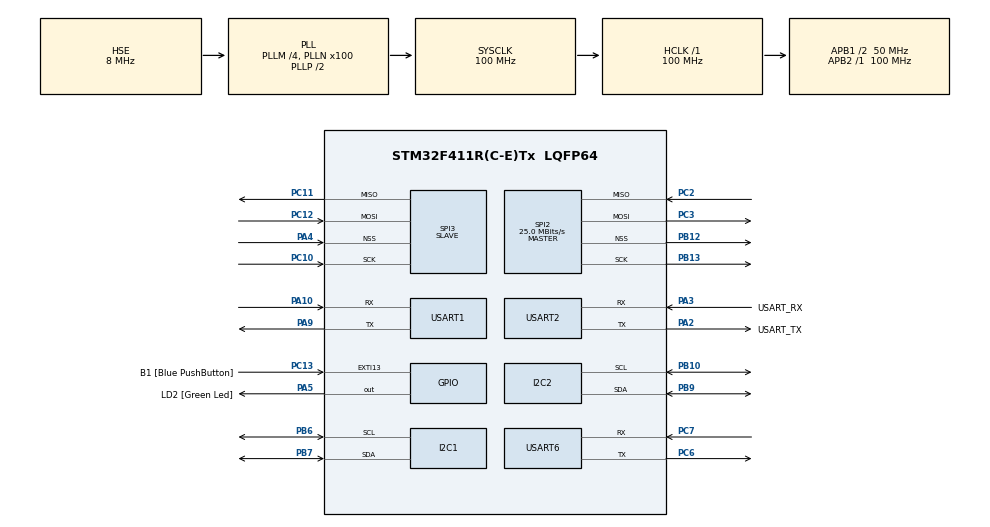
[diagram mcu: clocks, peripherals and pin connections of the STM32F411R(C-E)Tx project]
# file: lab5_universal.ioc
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I2C2.I2C_Mode=I2C_Standard
I2C2.OwnAddress=0x76
Mcu.Family=STM32F4
Mcu.Name=STM32F411R(C-E)Tx
Mcu.Package=LQFP64
NVIC.EXTI15_10_IRQn=true\:1\:0\:true\:false\:true\:true\:true\:true
NVIC.I2C1_ER_IRQn=true\:3\:0\:true\:false\:true\:true\:true\:true
NVIC.I2C1_EV_IRQn=true\:2\:0\:true\:false\:true\:true\:true\:true
NVIC.I2C2_ER_IRQn=true\:3\:0\:true\:false\:true\:true\:true\:true
NVIC.I2C2_EV_IRQn=true\:2\:0\:true\:false\:true\:true\:true\:true
NVIC.PriorityGroup=NVIC_PRIORITYGROUP_2
NVIC.SPI2_IRQn=true\:2\:0\:true\:false\:true\:true\:true\:true
NVIC.SPI3_IRQn=true\:2\:0\:true\:false\:true\:true\:true\:true
NVIC.USART1_IRQn=true\:1\:0\:true\:false\:true\:true\:true\:true
NVIC.USART6_IRQn=true\:2\:0\:true\:false\:true\:true\:true\:true
PA10.Mode=Asynchronous
PA10.Signal=USART1_RX
PA13.GPIO_Label=TMS
PA13.Mode=Serial_Wire
PA13.Signal=SYS_JTMS-SWDIO
PA14.GPIO_Label=TCK
PA14.Mode=Serial_Wire
PA14.Signal=SYS_JTCK-SWCLK
PA2.GPIO_Label=USART_TX
PA2.Mode=Asynchronous
PA2.Signal=USART2_TX
PA3.GPIO_Label=USART_RX
PA3.Mode=Asynchronous
PA3.Signal=USART2_RX
PA4.Mode=NSS_Signal_Hard_Input
PA4.Signal=SPI3_NSS
PA5.GPIO_Label=LD2 [Green Led]
PA5.Signal=GPIO_Output
PA9.Mode=Asynchronous
PA9.Signal=USART1_TX
PB10.Mode=I2C
PB10.Signal=I2C2_SCL
PB12.Mode=NSS_Signal_Hard_Output
PB12.Signal=SPI2_NSS
PB13.Mode=Full_Duplex_Master
PB13.Signal=SPI2_SCK
PB3.GPIO_Label=SWO
PB3.Signal=SYS_JTDO-SWO
PB6.Mode=I2C
PB6.Signal=I2C1_SCL
PB7.Mode=I2C
PB7.Signal=I2C1_SDA
PB9.Mode=I2C
PB9.Signal=I2C2_SDA
PC10.Mode=Full_Duplex_Slave
PC10.Signal=SPI3_SCK
PC11.Mode=Full_Duplex_Slave
PC11.Signal=SPI3_MISO
PC12.Mode=Full_Duplex_Slave
PC12.Signal=SPI3_MOSI
PC13-ANTI_TAMP.GPIO_Label=B1 [Blue PushButton]
PC13-ANTI_TAMP.GPIO_ModeDefaultEXTI=GPIO_MODE_IT_FALLING
PC13-ANTI_TAMP.Signal=GPXTI13
PC14-OSC32_IN.Mode=LSE-External-Oscillator
PC14-OSC32_IN.Signal=RCC_OSC32_IN
PC15-OSC32_OUT.Mode=LSE-External-Oscillator
PC15-OSC32_OUT.Signal=RCC_OSC32_OUT
PC2.Mode=Full_Duplex_Master
PC2.Signal=SPI2_MISO
PC3.Mode=Full_Duplex_Master
PC3.Signal=SPI2_MOSI
PC6.Mode=Asynchronous
PC6.Signal=USART6_TX
PC7.Mode=Asynchronous
PC7.Signal=USART6_RX
PH0\ -\ OSC_IN.Mode=HSE-External-Clock-Source
PH0\ -\ OSC_IN.Signal=RCC_OSC_IN
PH1\ -\ OSC_OUT.Mode=HSE-External-Clock-Source
PH1\ -\ OSC_OUT.Signal=RCC_OSC_OUT
ProjectManager.HeapSize=0x200
ProjectManager.StackSize=0x400
ProjectManager.TargetToolchain=STM32CubeIDE
RCC.48MHZClocksFreq_Value=50000000
RCC.AHBFreq_Value=100000000
RCC.APB1CLKDivider=RCC_HCLK_DIV2
RCC.APB1Freq_Value=50000000
RCC.APB1TimFreq_Value=100000000
RCC.APB2Freq_Value=100000000
RCC.APB2TimFreq_Value=100000000
RCC.CortexFreq_Value=100000000
RCC.FLatency-AdvancedSettings=FLASH_LATENCY_3
RCC.HCLKFreq_Value=100000000
RCC.HSE_VALUE=8000000
RCC.HSI_VALUE=16000000
RCC.PLLM=4
RCC.PLLN=100
RCC.PLLSourceVirtual=RCC_PLLSOURCE_HSE
RCC.SYSCLKFreq_VALUE=100000000
RCC.SYSCLKSource=RCC_SYSCLKSOURCE_PLLCLK
RCC.VCOOutputFreq_Value=200000000
SPI2.CalculateBaudRate=25.0 MBits/s
SPI2.Direction=SPI_DIRECTION_2LINES
SPI2.Mode=SPI_MODE_MASTER
SPI2.VirtualNSS=VM_NSSHARD
SPI2.VirtualType=VM_MASTER
SPI3.Direction=SPI_DIRECTION_2LINES
SPI3.Mode=SPI_MODE_SLAVE
SPI3.VirtualNSS=VM_NSSHARD
SPI3.VirtualType=VM_SLAVE
USART1.VirtualMode=VM_ASYNC
USART2.VirtualMode=VM_ASYNC
USART6.VirtualMode=VM_ASYNC
board=NUCLEO-F411RE

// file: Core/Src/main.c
/* USER CODE BEGIN Header */
/**
  ******************************************************************************
  * @file           : main.c
  * @brief          : Main program body
  ******************************************************************************
  * @attention
  *
  * Copyright (c) 2023 STMicroelectronics.
  * All rights reserved.
  *
  * This software is licensed under terms that can be found in the LICENSE file
  * in the root directory of this software component.
  * If no LICENSE file comes with this software, it is provided AS-IS.
  *
  ******************************************************************************
  */
/* USER CODE END Header */
#include "main.h"

/* USER CODE BEGIN PTD */
enum ReceiveType {
    R_UART,
    R_I2C,
    R_SPI
};
/* USER CODE END PTD */

I2C_HandleTypeDef hi2c1;
I2C_HandleTypeDef hi2c2;

SPI_HandleTypeDef hspi2;
SPI_HandleTypeDef hspi3;

UART_HandleTypeDef huart1;
UART_HandleTypeDef huart2;
UART_HandleTypeDef huart6;

/* USER CODE BEGIN PV */
uint8_t opcode = 'a';
uint8_t buff[1];
/* USER CODE END PV */

void SystemClock_Config(void);

static void MX_GPIO_Init(void);

static void MX_I2C1_Init(void);

static void MX_SPI2_Init(void);

static void MX_SPI3_Init(void);

static void MX_USART1_UART_Init(void);

static void MX_USART2_UART_Init(void);

static void MX_I2C2_Init(void);

static void MX_USART6_UART_Init(void);

/* USER CODE BEGIN PFP */

void toggleLED(enum ReceiveType mode);

/* USER CODE END PFP */

int main(void) {

    /* MCU Configuration--------------------------------------------------------*/

    /* Reset of all peripherals, Initializes the Flash interface and the Systick. */
    HAL_Init();

    /* Configure the system clock */
    SystemClock_Config();

    /* Initialize all configured peripherals */
    MX_GPIO_Init();
    MX_I2C1_Init();
    MX_SPI2_Init();
    MX_SPI3_Init();
    MX_USART1_UART_Init();
    MX_USART2_UART_Init();
    MX_I2C2_Init();
    MX_USART6_UART_Init();
    /* USER CODE BEGIN 2 */

    HAL_UART_Receive_IT(&huart6, buff, 1);
    HAL_I2C_Slave_Receive_IT(&hi2c2, buff, 1);
    HAL_SPI_Receive_IT(&hspi3, buff, 1);
    /* USER CODE END 2 */

    /* Infinite loop */
    while (1) {

    }
}

void SystemClock_Config(void) {
    RCC_OscInitTypeDef RCC_OscInitStruct = {0};
    RCC_ClkInitTypeDef RCC_ClkInitStruct = {0};

    /** Configure the main internal regulator output voltage
    */
    __HAL_RCC_PWR_CLK_ENABLE();
    __HAL_PWR_VOLTAGESCALING_CONFIG(PWR_REGULATOR_VOLTAGE_SCALE1);

    /** Initializes the RCC Oscillators according to the specified parameters
    * in the RCC_OscInitTypeDef structure.
    */
    RCC_OscInitStruct.OscillatorType = RCC_OSCILLATORTYPE_HSE;
    RCC_OscInitStruct.HSEState = RCC_HSE_BYPASS;
    RCC_OscInitStruct.PLL.PLLState = RCC_PLL_ON;
    RCC_OscInitStruct.PLL.PLLSource = RCC_PLLSOURCE_HSE;
    RCC_OscInitStruct.PLL.PLLM = 4;
    RCC_OscInitStruct.PLL.PLLN = 100;
    RCC_OscInitStruct.PLL.PLLP = RCC_PLLP_DIV2;
    RCC_OscInitStruct.PLL.PLLQ = 4;
    if (HAL_RCC_OscConfig(&RCC_OscInitStruct) != HAL_OK) {
        Error_Handler();
    }

    /** Initializes the CPU, AHB and APB buses clocks
    */
    RCC_ClkInitStruct.ClockType = RCC_CLOCKTYPE_HCLK | RCC_CLOCKTYPE_SYSCLK
                                  | RCC_CLOCKTYPE_PCLK1 | RCC_CLOCKTYPE_PCLK2;
    RCC_ClkInitStruct.SYSCLKSource = RCC_SYSCLKSOURCE_PLLCLK;
    RCC_ClkInitStruct.AHBCLKDivider = RCC_SYSCLK_DIV1;
    RCC_ClkInitStruct.APB1CLKDivider = RCC_HCLK_DIV2;
    RCC_ClkInitStruct.APB2CLKDivider = RCC_HCLK_DIV1;

    if (HAL_RCC_ClockConfig(&RCC_ClkInitStruct, FLASH_LATENCY_3) != HAL_OK) {
        Error_Handler();
    }
}

static void MX_I2C1_Init(void) {

    hi2c1.Instance = I2C1;
    hi2c1.Init.ClockSpeed = 100000;
    hi2c1.Init.DutyCycle = I2C_DUTYCYCLE_2;
    hi2c1.Init.OwnAddress1 = 0;
    hi2c1.Init.AddressingMode = I2C_ADDRESSINGMODE_7BIT;
    hi2c1.Init.DualAddressMode = I2C_DUALADDRESS_DISABLE;
    hi2c1.Init.OwnAddress2 = 0;
    hi2c1.Init.GeneralCallMode = I2C_GENERALCALL_DISABLE;
    hi2c1.Init.NoStretchMode = I2C_NOSTRETCH_DISABLE;
    if (HAL_I2C_Init(&hi2c1) != HAL_OK) {
        Error_Handler();
    }

}

static void MX_I2C2_Init(void) {

    hi2c2.Instance = I2C2;
    hi2c2.Init.ClockSpeed = 100000;
    hi2c2.Init.DutyCycle = I2C_DUTYCYCLE_2;
    hi2c2.Init.OwnAddress1 = 236;
    hi2c2.Init.AddressingMode = I2C_ADDRESSINGMODE_7BIT;
    hi2c2.Init.DualAddressMode = I2C_DUALADDRESS_DISABLE;
    hi2c2.Init.OwnAddress2 = 0;
    hi2c2.Init.GeneralCallMode = I2C_GENERALCALL_DISABLE;
    hi2c2.Init.NoStretchMode = I2C_NOSTRETCH_DISABLE;
    if (HAL_I2C_Init(&hi2c2) != HAL_OK) {
        Error_Handler();
    }

}

static void MX_SPI2_Init(void) {

    /* SPI2 parameter configuration*/
    hspi2.Instance = SPI2;
    hspi2.Init.Mode = SPI_MODE_MASTER;
    hspi2.Init.Direction = SPI_DIRECTION_2LINES;
    hspi2.Init.DataSize = SPI_DATASIZE_8BIT;
    hspi2.Init.CLKPolarity = SPI_POLARITY_LOW;
    hspi2.Init.CLKPhase = SPI_PHASE_1EDGE;
    hspi2.Init.NSS = SPI_NSS_HARD_OUTPUT;
    hspi2.Init.BaudRatePrescaler = SPI_BAUDRATEPRESCALER_2;
    hspi2.Init.FirstBit = SPI_FIRSTBIT_MSB;
    hspi2.Init.TIMode = SPI_TIMODE_DISABLE;
    hspi2.Init.CRCCalculation = SPI_CRCCALCULATION_DISABLE;
    hspi2.Init.CRCPolynomial = 10;
    if (HAL_SPI_Init(&hspi2) != HAL_OK) {
        Error_Handler();
    }

}

static void MX_SPI3_Init(void) {

    /* SPI3 parameter configuration*/
    hspi3.Instance = SPI3;
    hspi3.Init.Mode = SPI_MODE_SLAVE;
    hspi3.Init.Direction = SPI_DIRECTION_2LINES;
    hspi3.Init.DataSize = SPI_DATASIZE_8BIT;
    hspi3.Init.CLKPolarity = SPI_POLARITY_LOW;
    hspi3.Init.CLKPhase = SPI_PHASE_1EDGE;
    hspi3.Init.NSS = SPI_NSS_HARD_INPUT;
    hspi3.Init.FirstBit = SPI_FIRSTBIT_MSB;
    hspi3.Init.TIMode = SPI_TIMODE_DISABLE;
    hspi3.Init.CRCCalculation = SPI_CRCCALCULATION_DISABLE;
    hspi3.Init.CRCPolynomial = 10;
    if (HAL_SPI_Init(&hspi3) != HAL_OK) {
        Error_Handler();
    }

}

static void MX_USART1_UART_Init(void) {

    huart1.Instance = USART1;
    huart1.Init.BaudRate = 115200;
    huart1.Init.WordLength = UART_WORDLENGTH_8B;
    huart1.Init.StopBits = UART_STOPBITS_1;
    huart1.Init.Parity = UART_PARITY_NONE;
    huart1.Init.Mode = UART_MODE_TX_RX;
    huart1.Init.HwFlowCtl = UART_HWCONTROL_NONE;
    huart1.Init.OverSampling = UART_OVERSAMPLING_16;
    if (HAL_UART_Init(&huart1) != HAL_OK) {
        Error_Handler();
    }

}

static void MX_USART2_UART_Init(void) {

    huart2.Instance = USART2;
    huart2.Init.BaudRate = 115200;
    huart2.Init.WordLength = UART_WORDLENGTH_8B;
    huart2.Init.StopBits = UART_STOPBITS_1;
    huart2.Init.Parity = UART_PARITY_NONE;
    huart2.Init.Mode = UART_MODE_TX_RX;
    huart2.Init.HwFlowCtl = UART_HWCONTROL_NONE;
    huart2.Init.OverSampling = UART_OVERSAMPLING_16;
    if (HAL_UART_Init(&huart2) != HAL_OK) {
        Error_Handler();
    }

}

static void MX_USART6_UART_Init(void) {

    huart6.Instance = USART6;
    huart6.Init.BaudRate = 115200;
    huart6.Init.WordLength = UART_WORDLENGTH_8B;
    huart6.Init.StopBits = UART_STOPBITS_1;
    huart6.Init.Parity = UART_PARITY_NONE;
    huart6.Init.Mode = UART_MODE_TX_RX;
    huart6.Init.HwFlowCtl = UART_HWCONTROL_NONE;
    huart6.Init.OverSampling = UART_OVERSAMPLING_16;
    if (HAL_UART_Init(&huart6) != HAL_OK) {
        Error_Handler();
    }

}

static void MX_GPIO_Init(void) {
    GPIO_InitTypeDef GPIO_InitStruct = {0};

    /* GPIO Ports Clock Enable */
    __HAL_RCC_GPIOC_CLK_ENABLE();
    __HAL_RCC_GPIOH_CLK_ENABLE();
    __HAL_RCC_GPIOA_CLK_ENABLE();
    __HAL_RCC_GPIOB_CLK_ENABLE();

    /*Configure GPIO pin Output Level */
    HAL_GPIO_WritePin(LD2_GPIO_Port, LD2_Pin, GPIO_PIN_RESET);

    /*Configure GPIO pin : B1_Pin */
    GPIO_InitStruct.Pin = B1_Pin;
    GPIO_InitStruct.Mode = GPIO_MODE_IT_FALLING;
    GPIO_InitStruct.Pull = GPIO_NOPULL;
    HAL_GPIO_Init(B1_GPIO_Port, &GPIO_InitStruct);

    /*Configure GPIO pin : LD2_Pin */
    GPIO_InitStruct.Pin = LD2_Pin;
    GPIO_InitStruct.Mode = GPIO_MODE_OUTPUT_PP;
    GPIO_InitStruct.Pull = GPIO_NOPULL;
    GPIO_InitStruct.Speed = GPIO_SPEED_FREQ_LOW;
    HAL_GPIO_Init(LD2_GPIO_Port, &GPIO_InitStruct);

    /* EXTI interrupt init*/
    HAL_NVIC_SetPriority(EXTI15_10_IRQn, 1, 0);
    HAL_NVIC_EnableIRQ(EXTI15_10_IRQn);

}

/* USER CODE BEGIN 4 */
void toggleLED(enum ReceiveType mode) {
    HAL_GPIO_TogglePin(GPIOA, GPIO_PIN_5);
    switch (mode) {
        case R_UART:
            HAL_UART_Receive_IT(&huart6, buff, 1);
            break;
        case R_I2C:
            HAL_I2C_Slave_Receive_IT(&hi2c2, buff, 1);
            break;
        case R_SPI:
            HAL_SPI_Receive_IT(&hspi3, buff, 1);
            break;
        default:
            break;
    }
}

void HAL_GPIO_EXTI_Callback(uint16_t GPIO_Pin) {
//    HAL_GPIO_WritePin(GPIOA, GPIO_PIN_5, 1);
//    HAL_Delay(100);
//    HAL_GPIO_WritePin(GPIOA, GPIO_PIN_5, 0);
//    HAL_Delay(50);

    HAL_UART_Transmit_IT(&huart1, &opcode, 1);
    HAL_I2C_Master_Transmit_IT(&hi2c1, 0x76 << 1, &opcode, 1);
    HAL_SPI_Transmit_IT(&hspi2, &opcode, 1);

    __HAL_GPIO_EXTI_CLEAR_IT(GPIO_Pin);
}

// UART1 Receive
void HAL_UART_RxCpltCallback(UART_HandleTypeDef *huart) {
    if (huart->Instance != USART6)
        return;
    toggleLED(R_UART);
}

// I2C2 Receive
void HAL_I2C_SlaveRxCpltCallback(I2C_HandleTypeDef *hi2c) {
    if (hi2c->Instance != I2C2)
        return;
    toggleLED(R_I2C);
}

// SPI3 Receive
void HAL_SPI_RxCpltCallback(SPI_HandleTypeDef *hspi) {
    if (hspi->Instance != SPI3)
        return;
    toggleLED(R_SPI);
}

/* USER CODE END 4 */

void Error_Handler(void) {
    __disable_irq();
    while (1) {
    }
}
